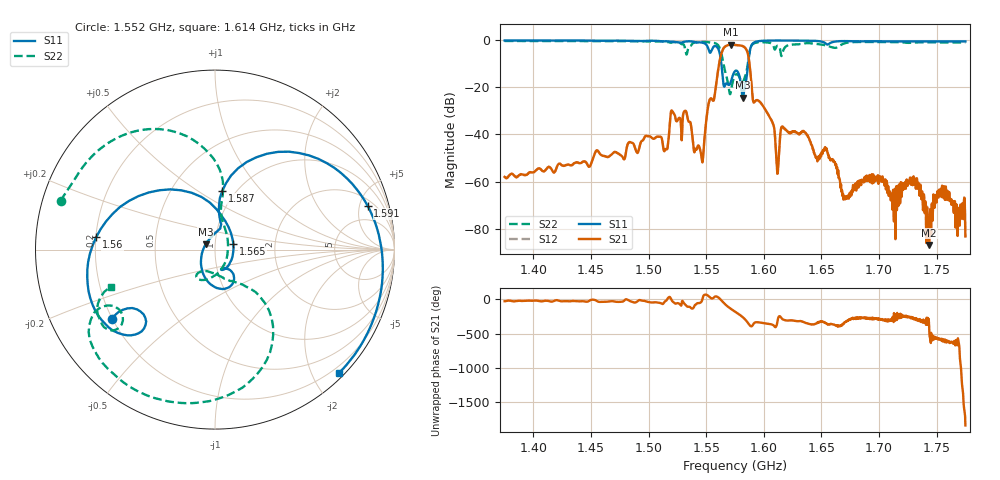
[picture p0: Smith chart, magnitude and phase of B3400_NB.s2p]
! Matrix data file written by TouchstoneData, EPCOS AG
! FILENAME: "B3400_NB.s2p"
! COMMENT: "PCB328"
! INFO: nport=2, nfreq=1601
! DATE: "Mon Mar 03 2014"
! USER: "Hiroshi Tanaka"
! port | pin | signal
!  1  |  2  |  in
!  2  |  5  |  out
# MHZ S MA R 50
! freq  magS11 angS11  magS21 angS21  magS12 angS12  magS22 angS22
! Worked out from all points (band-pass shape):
!   1601 points, 1.375 GHz to 1.775 GHz, reference 50 ohm
!   highest |S21| = -1.95 dB at 1.572 GHz (marker M1); lowest = -86.8 dB at 1.744 GHz (marker M2)
!   |S21| within 3 dB of the highest: 1.564 GHz to 1.586 GHz (21.86 MHz wide, 1.39 % of centre)
!   lowest |S11| = -24.4 dB at 1.582 GHz (marker M3), VSWR 1.13, Z = 44.9 + j2.62 ohm
!   |S11| at or under -10 dB: 1.563 GHz to 1.586 GHz (23.26 MHz wide, 1.48 % of centre)
!   |S22| runs from -23.0 to -0.4 dB; largest |S21 - S12| = 0.00086
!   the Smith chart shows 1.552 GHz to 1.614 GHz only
!   S11 on the Smith chart (normalised r, x): 1.552 GHz: 0.20, -0.29; 1.56 GHz: 0.20, +0.05; 1.565 GHz: 1.22, +0.08; 1.587 GHz: 0.87, +0.64; 1.591 GHz: 2.66, +5.97; 1.614 GHz: 0.09, -2.41
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1375  0.9763 -73.6  0.001263 -27.5  0.001266 -27.1  0.9525 -143.7
1441.75  0.9734 -79.8  0.002505 -26.9  0.002518 -27.1  0.9488 -151.8
1508.5  0.9532 -94.3  0.008915 -48.3  0.008936 -48.3  0.9371 -167.7
1531.75  0.9255 -102.6  0.03174 -75.9  0.03176 -75.9  0.6445 166.3
1546  0.8832 -124.9  0.003254 -31.1  0.003244 -31.2  0.9139 175.5
1551.5  0.6913 -146.2  0.03723 54.7  0.03724 54.7  0.9011 162.5
1560.25  0.6657 174.1  0.2229 31.1  0.223 31.0  0.7807 121.4
1565.25  0.1077 18.3  0.679 -53.0  0.679 -53.0  0.2854 82.0
1571.75  0.1368 -54.6  0.7993 -143.0  0.7993 -143.0  0.08967 -48.7
1575  0.2188 -65.4  0.7852 -179.9  0.7853 -180.0  0.1774 -107.9
1581.75  0.06036 151.2  0.742 99.2  0.742 99.2  0.1302 -98.2
1586.5  0.3302 83.0  0.4675 9.4  0.4672 9.4  0.3677 -46.4
1591.5  0.8848 16.0  0.04742 11.6  0.04743 11.6  0.8492 -93.6
1614.25  0.9746 -45.0  0.009656 109.4  0.009676 109.3  0.6173 -160.5
1641.75  0.9607 -61.6  0.005872 -5.6  0.005873 -5.6  0.8489 -166.9
1660.25  0.9123 -60.5  0.002881 -7.2  0.002883 -7.3  0.6884 98.1
1666.75  0.9458 -63.7  0.0007372 -18.7  0.0007371 -18.3  0.7788 -8.9
1675.5  0.9443 -66.6  0.0006085 75.6  0.0006046 76.9  0.8964 -83.2
1708.5  0.9333 -70.5  0.0004988 40.3  0.000501 40.3  0.9049 -129.9
1743.5  0.9326 -73.1  4.55e-05 -21.6  4.302e-05 -20.7  0.8959 -140.1
1756.5  0.933 -74.0  0.0007941 115.1  0.0007974 115.7  0.8876 -142.6
1775  0.9332 -75.4  6.919e-05 -40.9  6.673e-05 -45.4  0.885 -145.2
